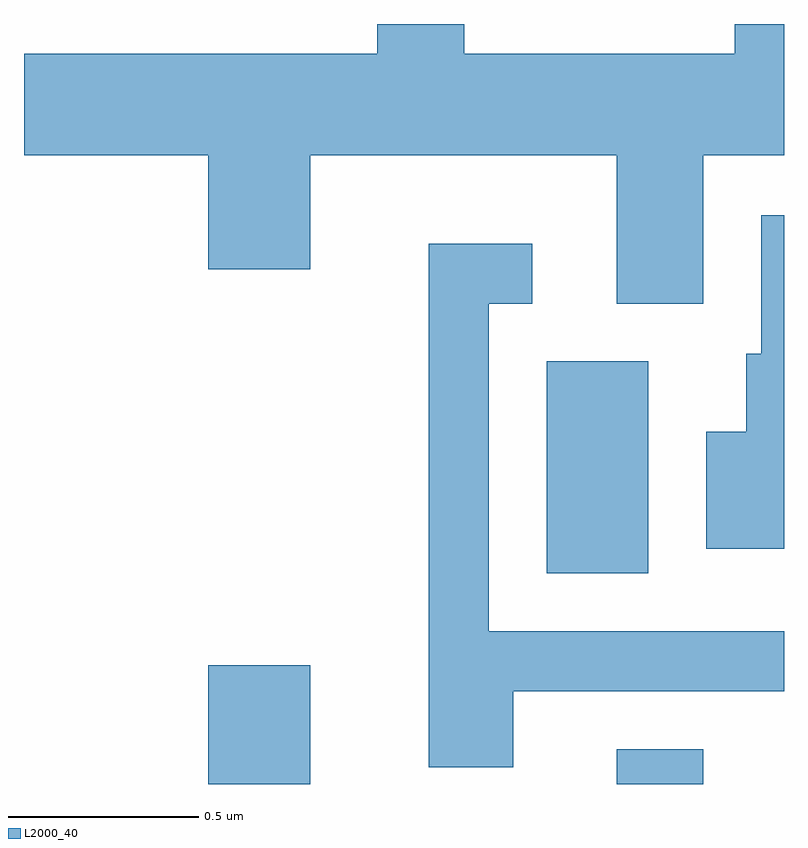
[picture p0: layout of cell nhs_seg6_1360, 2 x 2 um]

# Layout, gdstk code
import gdstk
lib = gdstk.Library(unit=1e-6, precision=1e-09)
def R(c, l, rs):  # rectangles x0, y0, x1, y1
    for r in rs: c.add(gdstk.rectangle(r[:2], r[2:], *l))
def P(c, l, *ps):  # polygons
    for p in ps: c.add(gdstk.Polygon(p, *l))
L2000_40 = (2000, 40)

nhs_seg6_1360 = lib.new_cell('nhs_seg6_1360')
R(nhs_seg6_1360, L2000_40, [(195.096,1657.162,195.364,1657.474), (196.171,1657.162,196.399,1657.254), (195.986,1657.716,196.254,1658.274)])
P(nhs_seg6_1360, L2000_40, [(196.399,1658.816),(196.611,1658.816),(196.611,1659.162),(196.481,1659.162),(196.481,1659.084),(195.769,1659.084),(195.769,1659.162),(195.541,1659.162),(195.541,1659.084),(194.611,1659.084),(194.611,1658.816),(195.096,1658.816),(195.096,1658.516),(195.364,1658.516),(195.364,1658.816),(196.171,1658.816),(196.171,1658.426),(196.399,1658.426)],
  [(196.611,1658.659),(196.551,1658.659),(196.551,1658.294),(196.511,1658.294),(196.511,1658.089),(196.406,1658.089),(196.406,1657.781),(196.611,1657.781)],
  [(195.899,1657.406),(196.611,1657.406),(196.611,1657.564),(195.834,1657.564),(195.834,1658.426),(195.948,1658.426),(195.948,1658.584),(195.676,1658.584),(195.676,1657.206),(195.899,1657.206)])

lib.write_gds('nhs_seg6_1360.gds')
